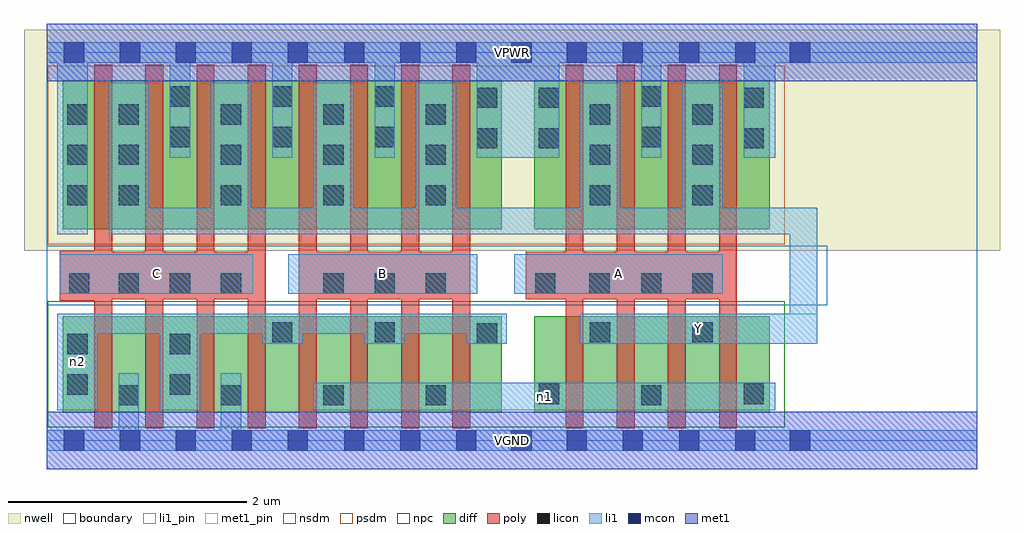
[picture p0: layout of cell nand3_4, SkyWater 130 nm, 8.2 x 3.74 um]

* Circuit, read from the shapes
.subckt nand3_4 A B C VGND VPWR Y n1 n2
XM1 VGND C n2 VSUBS sky130_fd_pr__nfet_01v8 w=0.81 l=0.15 m=4
XM2 n1 B n2 VSUBS sky130_fd_pr__nfet_01v8 w=0.81 l=0.15 m=4
XM3 Y A n1 VSUBS sky130_fd_pr__nfet_01v8 w=0.81 l=0.15 m=4
XM4 Y C VPWR n3 sky130_fd_pr__pfet_01v8 w=1.25 l=0.15 m=4
XM5 Y B VPWR n3 sky130_fd_pr__pfet_01v8 w=1.25 l=0.15 m=4
XM6 Y A VPWR n3 sky130_fd_pr__pfet_01v8 w=1.25 l=0.15 m=4
.ends

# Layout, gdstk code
import gdstk
lib = gdstk.Library(unit=1e-6, precision=1e-09)
def R(c, l, rs):  # rectangles x0, y0, x1, y1
    for r in rs: c.add(gdstk.rectangle(r[:2], r[2:], *l))
def A(c, l, x, y, w, h, nx, ny, dx, dy):  # array of equal rectangles
    R(c, l, [(x+i*dx, y+j*dy, x+i*dx+w, y+j*dy+h) for i in range(nx) for j in range(ny)])
nwell = (64, 20)
diff = (65, 20)
poly = (66, 20)
licon = (66, 44)
li1_pin = (67, 16)
li1 = (67, 20)
mcon = (67, 44)
met1_pin = (68, 16)
met1 = (68, 20)
nsdm = (93, 44)
psdm = (94, 20)
npc = (95, 20)
boundary = (235, 4)

nand3_4 = lib.new_cell('nand3_4')
R(nand3_4, nwell, [(-0.19,1.595,8.01,3.45), (0,1.595,7.82,3.45)])
R(nand3_4, diff, [(0.135,0.235,3.825,1.045), (4.095,0.235,6.075,1.045), (0.135,1.775,3.825,3.025), (4.095,1.775,6.075,3.025)])
A(nand3_4, poly, 0.4, 0.105, 0.15, 3.05, 8, 1, 0.43, 0)
A(nand3_4, poly, 4.36, 0.105, 0.15, 3.05, 4, 1, 0.43, 0)
R(nand3_4, poly, [(0.11,1.175,0.55,1.595), (0.11,1.185,1.84,1.585), (2.12,1.185,3.56,1.585), (4.025,1.185,5.8,1.585)])
A(nand3_4, licon, 0.605, 0.295, 0.17, 0.17, 4, 2, 0.86, 1.68)
A(nand3_4, licon, 0.605, 1.235, 0.17, 0.17, 3, 1, 0.43, 0)
A(nand3_4, licon, 2.325, 1.235, 0.17, 0.17, 3, 1, 0.43, 0)
A(nand3_4, licon, 0.175, 1.975, 0.17, 0.17, 1, 3, 0, 0.34)
A(nand3_4, licon, 4.565, 1.975, 0.17, 0.17, 1, 3, 0, 0.34)
A(nand3_4, licon, 5.425, 1.975, 0.17, 0.17, 1, 3, 0, 0.34)
A(nand3_4, licon, 0.605, 2.315, 0.17, 0.17, 4, 2, 0.86, 0.34)
A(nand3_4, licon, 1.035, 2.465, 0.17, 0.17, 3, 2, 0.86, 0.34)
R(nand3_4, licon, [(4.995,0.295,5.165,0.465), (4.135,0.305,4.305,0.475), (5.855,0.305,6.025,0.475), (0.175,0.385,0.345,0.555), (1.035,0.385,1.205,0.555), (0.175,0.725,0.345,0.895), (1.035,0.725,1.205,0.895), (3.615,0.815,3.785,0.985), (1.895,0.825,2.065,0.995), (2.755,0.825,2.925,0.995), (4.565,0.825,4.735,0.995), (5.425,0.825,5.595,0.995), (0.19,1.235,0.36,1.405), (4.105,1.235,4.275,1.405), (4.56,1.235,4.73,1.405), (4.995,1.235,5.165,1.405), (5.425,1.235,5.595,1.405), (3.615,2.455,3.785,2.625), (4.135,2.455,4.305,2.625), (5.855,2.455,6.025,2.625), (4.995,2.465,5.165,2.635), (3.615,2.795,3.785,2.965), (4.135,2.795,4.305,2.965), (5.855,2.795,6.025,2.965), (4.995,2.805,5.165,2.975)])
R(nand3_4, li1_pin, [(4.48,0.815,6.475,1.065), (0.11,1.235,1.735,1.565), (2.03,1.235,3.62,1.565), (3.93,1.235,5.68,1.565)])
A(nand3_4, li1, 0.52, 1.735, 0.34, 1.27, 4, 1, 0.86, 0)
A(nand3_4, li1, 1.035, 2.375, 0.17, 0.97, 3, 1, 0.86, 0)
R(nand3_4, li1, [(0,-0.085,7.82,0.085), (0.605,-0.085,0.775,0.565), (1.465,-0.085,1.635,0.565), (0.09,0.255,0.43,1.065), (0.95,0.255,1.29,1.065), (2.24,0.255,6.12,0.485), (1.81,0.815,2.15,1.065), (2.67,0.815,3.01,1.065), (3.53,0.815,3.865,1.065), (4.48,0.815,6.475,1.065), (6.245,0.815,6.475,1.955), (0.09,0.895,3.865,1.065), (0.11,1.235,1.735,1.565), (2.03,1.235,3.62,1.565), (3.93,1.235,5.68,1.565), (0.09,1.735,0.345,3.345), (0.52,1.735,6.475,1.955), (4.48,1.735,4.82,3.005), (5.34,1.735,5.68,3.005), (3.615,2.375,4.305,3.345), (4.995,2.375,5.165,3.345), (5.855,2.375,6.12,3.345), (0,3.175,7.82,3.345)])
A(nand3_4, mcon, 0.145, -0.085, 0.17, 0.17, 5, 2, 0.47, 3.26)
A(nand3_4, mcon, 2.5, -0.085, 0.17, 0.17, 3, 2, 0.47, 3.26)
R(nand3_4, mcon, [(3.905,-0.085,4.075,0.085), (4.37,-0.085,4.54,0.085), (4.84,-0.085,5.01,0.085), (5.315,-0.085,5.485,0.085), (5.785,-0.085,5.955,0.085), (6.245,-0.085,6.415,0.085), (3.905,3.175,4.075,3.345), (4.37,3.175,4.54,3.345), (4.84,3.175,5.01,3.345), (5.315,3.175,5.485,3.345), (5.785,3.175,5.955,3.345), (6.245,3.175,6.415,3.345)])
R(nand3_4, met1_pin, [(0,-0.24,7.82,0.24), (0,3.02,7.82,3.5)])
R(nand3_4, met1, [(0,-0.24,7.82,0.24), (0,3.02,7.82,3.5)])
R(nand3_4, nsdm, [(0.01,0.11,6.2,1.17)])
R(nand3_4, psdm, [(0.01,1.65,6.2,3.15)])
R(nand3_4, npc, [(0,1.135,6.56,1.635)])
R(nand3_4, boundary, [(0,0,7.82,3.26)])
nand3_4.add(gdstk.Label('A', (4.805,1.4), layer=67, texttype=5))
nand3_4.add(gdstk.Label('B', (2.825,1.4), layer=67, texttype=5))
nand3_4.add(gdstk.Label('C', (0.922,1.4), layer=67, texttype=5))
nand3_4.add(gdstk.Label('Y', (5.477,0.94), layer=67, texttype=5))
nand3_4.add(gdstk.Label('n1', (4.18,0.37), layer=67, texttype=5))
nand3_4.add(gdstk.Label('n2', (0.26,0.66), layer=67, texttype=5))
nand3_4.add(gdstk.Label('VPWR', (3.91,3.26), layer=68, texttype=5))
nand3_4.add(gdstk.Label('VGND', (3.91,0), layer=68, texttype=5))
nand3_4.add(gdstk.Label('A', (4.805,1.4), layer=67, texttype=16))
nand3_4.add(gdstk.Label('B', (2.825,1.4), layer=67, texttype=16))
nand3_4.add(gdstk.Label('C', (0.922,1.4), layer=67, texttype=16))
nand3_4.add(gdstk.Label('Y', (5.477,0.94), layer=67, texttype=16))
nand3_4.add(gdstk.Label('VPWR', (3.91,3.26), layer=68, texttype=16))
nand3_4.add(gdstk.Label('VGND', (3.91,0), layer=68, texttype=16))

lib.write_gds('nand3_4.gds')
